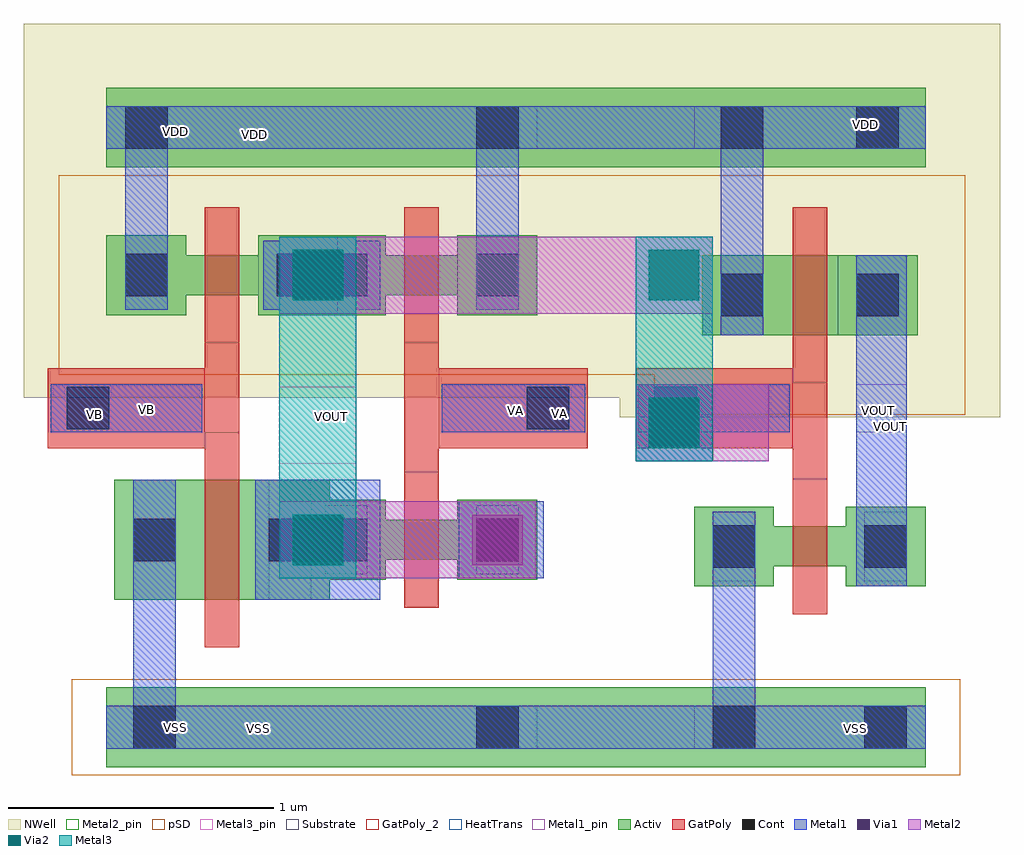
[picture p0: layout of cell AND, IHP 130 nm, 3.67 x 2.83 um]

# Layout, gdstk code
import gdstk
lib = gdstk.Library(unit=1e-6, precision=5e-09)
def R(c, l, rs):  # rectangles x0, y0, x1, y1
    for r in rs: c.add(gdstk.rectangle(r[:2], r[2:], *l))
Activ = (1, 0)
GatPoly = (5, 0)
GatPoly_2 = (5, 2)
Cont = (6, 0)
Metal1 = (8, 0)
Metal1_pin = (8, 2)
Metal2 = (10, 0)
Metal2_pin = (10, 2)
pSD = (14, 0)
Via1 = (19, 0)
Via2 = (29, 0)
Metal3 = (30, 0)
Metal3_pin = (30, 2)
NWell = (31, 0)
Substrate = (40, 0)
HeatTrans = (51, 0)

nmos_2 = lib.new_cell('nmos$2')
R(nmos_2, Activ, [(0,0.01,0.3,0.31), (0.57,0.01,0.87,0.31), (0,0.085,0.87,0.235)])
R(nmos_2, GatPoly, [(0.37,-0.095,0.5,0.415)])
R(nmos_2, GatPoly_2, [(0.37,-0.095,0.5,0.415)])
R(nmos_2, Cont, [(0.07,0.08,0.23,0.24), (0.64,0.08,0.8,0.24)])
R(nmos_2, Metal1, [(0.07,0.03,0.23,0.29), (0.64,0.03,0.8,0.29)])
R(nmos_2, Metal1_pin, [(0.07,0.03,0.23,0.29), (0.64,0.03,0.8,0.29)])
R(nmos_2, HeatTrans, [(0.37,-0.095,0.5,0.415)])
nmos_2.add(gdstk.Label('nmos', (0.435,0.16), layer=63, texttype=0))
nmos_2.add(gdstk.Label('nmos', (0.435,0.16), layer=51, texttype=0))

pmos = lib.new_cell('pmos')
R(pmos, Activ, [(0,0.01,0.3,0.31), (0.57,0.01,0.87,0.31), (0,0.085,0.87,0.235)])
R(pmos, GatPoly, [(0.37,-0.095,0.5,0.415), (0.37,-0.095,0.5,0.415)])
R(pmos, Cont, [(0.07,0.08,0.23,0.24), (0.64,0.08,0.8,0.24)])
R(pmos, Metal1, [(0.07,0.03,0.23,0.29), (0.07,0.03,0.23,0.29), (0.64,0.03,0.8,0.29), (0.64,0.03,0.8,0.29)])
R(pmos, pSD, [(-0.18,-0.215,1.05,0.535)])
R(pmos, NWell, [(-0.31,-0.3,1.18,0.61)])
R(pmos, Substrate, [(0.57,0.01,0.87,0.31)])
R(pmos, HeatTrans, [(0.37,-0.095,0.5,0.415)])
pmos.add(gdstk.Label('pmos', (0.435,0.16), layer=63, texttype=0))
pmos.add(gdstk.Label('pmos', (0.435,0.16), layer=51, texttype=0))

via1_constraint_1 = lib.new_cell('Via1_constraint$1')
R(via1_constraint_1, Metal1, [(-0.005,0.015,0.285,0.305)])
R(via1_constraint_1, Metal2, [(-0.005,0.015,0.285,0.305)])
R(via1_constraint_1, Via1, [(0.045,0.065,0.235,0.255)])

nmos_1 = lib.new_cell('nmos$1')
R(nmos_1, Activ, [(0,0.01,0.3,0.31), (0,0.01,0.81,0.46), (0.51,0.01,0.81,0.31)])
R(nmos_1, GatPoly, [(0.34,-0.17,0.47,0.64)])
R(nmos_1, GatPoly_2, [(0.34,-0.17,0.47,0.64)])
R(nmos_1, Cont, [(0.07,0.155,0.23,0.315), (0.58,0.155,0.74,0.315)])
R(nmos_1, Metal1, [(0.07,0.01,0.23,0.46), (0.58,0.01,0.74,0.46)])
R(nmos_1, Metal1_pin, [(0.07,0.01,0.23,0.46), (0.58,0.01,0.74,0.46)])
R(nmos_1, HeatTrans, [(0.34,-0.17,0.47,0.64)])
nmos_1.add(gdstk.Label('nmos', (0.405,0.235), layer=63, texttype=0))
nmos_1.add(gdstk.Label('nmos', (0.405,0.235), layer=51, texttype=0))

via2_constraint_1 = lib.new_cell('Via2_constraint$1')
R(via2_constraint_1, Metal2, [(0,0.01,0.29,0.3)])
R(via2_constraint_1, Via2, [(0.05,0.06,0.24,0.25)])
R(via2_constraint_1, Metal3, [(0,0.01,0.29,0.3)])

nand = lib.new_cell('NAND')
R(nand, Activ, [(0.31,0.04,1.93,0.34), (0.31,2.295,1.93,2.595)])
R(nand, GatPoly, [(0.09,1.24,0.68,1.54), (1.56,1.24,2.12,1.54)])
R(nand, GatPoly_2, [(0.09,1.24,0.68,1.54), (1.56,1.24,2.12,1.54)])
R(nand, Cont, [(0.41,0.11,0.57,0.27), (1.7,0.11,1.86,0.27), (0.92,0.815,1.29,0.975), (0.16,1.31,0.32,1.47), (1.89,1.31,2.05,1.47), (0.95,1.81,1.29,1.97), (0.38,2.365,0.54,2.525), (1.7,2.365,1.86,2.525)])
R(nand, Metal1, [(0.31,0.11,1.93,0.27), (0.87,0.67,1.34,1.12), (1.925,0.75,1.955,1.04), (0.1,1.3,0.67,1.48), (1.57,1.3,2.11,1.48), (0.9,1.76,1.34,2.02), (0.31,2.365,1.93,2.525)])
R(nand, Metal1_pin, [(0.31,0.11,1.93,0.27), (0.1,1.3,0.67,1.48), (1.57,1.3,2.11,1.48), (0.31,2.365,1.93,2.525)])
R(nand, pSD, [(0.18,0.01,2.06,0.37)])
R(nand, Metal3_pin, [(0.96,1.18,1.25,1.47)])
R(nand, NWell, [(0,2.34,2.24,2.835)])
nand.add(gdstk.FlexPath([(0.49,0.67),(0.49,0.27)], 0.16, ends="flush", simple_path=True, layer=8, datatype=0))  # Metal1
nand.add(gdstk.FlexPath([(0.46,2.02),(0.46,2.365)], 0.16, ends="flush", simple_path=True, layer=8, datatype=0))  # Metal1
nand.add(gdstk.FlexPath([(1.78,2.02),(1.78,2.365)], 0.16, ends="flush", simple_path=True, layer=8, datatype=0))  # Metal1
nand.add(gdstk.FlexPath([(1.495,1.635),(1.495,1.15)], 0.13, ends="flush", simple_path=True, layer=5, datatype=0))  # GatPoly
nand.add(gdstk.FlexPath([(0.745,1.635),(0.745,1.3)], 0.13, ends="flush", simple_path=True, layer=5, datatype=0))  # GatPoly
nand.add(gdstk.FlexPath([(1.635,0.895),(1.25,0.895)], 0.29, ends="flush", simple_path=True, layer=10, datatype=0))  # Metal2
nand.add(gdstk.FlexPath([(1.105,1.04),(1.105,1.745)], 0.29, ends="flush", simple_path=True, layer=30, datatype=0))  # Metal3
nand.add(gdstk.Reference(nmos_2, (1.06,0.735)))
nand.add(gdstk.Reference(pmos, (0.31,1.73)))
nand.add(gdstk.Reference(pmos, (1.06,1.73)))
nand.add(gdstk.Reference(via1_constraint_1, (0.965,1.73)))
nand.add(gdstk.Reference(via1_constraint_1, (1.64,0.735)))
nand.add(gdstk.Reference(nmos_1, (0.34,0.66)))
nand.add(gdstk.Reference(via2_constraint_1, (0.96,0.74)))
nand.add(gdstk.Reference(via2_constraint_1, (0.96,1.735)))
nand.add(gdstk.Label('VB', (0.265,1.37), layer=8, texttype=25))
nand.add(gdstk.Label('VA', (1.95,1.365), layer=8, texttype=25))
nand.add(gdstk.Label('VSS', (0.4,0.185), layer=8, texttype=25))
nand.add(gdstk.Label('VDD', (0.4,2.44), layer=8, texttype=25))

nmos = lib.new_cell('nmos')
R(nmos, Activ, [(0,-0.025,0.3,0.275), (0.57,-0.025,0.87,0.275), (0,0.05,0.87,0.2)])
R(nmos, GatPoly, [(0.37,-0.13,0.5,0.38)])
R(nmos, GatPoly_2, [(0.37,-0.13,0.5,0.38)])
R(nmos, Cont, [(0.07,0.045,0.23,0.205), (0.64,0.045,0.8,0.205)])
R(nmos, Metal1, [(0.07,-0.005,0.23,0.255), (0.64,-0.005,0.8,0.255)])
R(nmos, Metal1_pin, [(0.07,-0.005,0.23,0.255), (0.64,-0.005,0.8,0.255)])
R(nmos, HeatTrans, [(0.37,-0.13,0.5,0.38)])
nmos.add(gdstk.Label('nmos', (0.435,0.125), layer=63, texttype=0))
nmos.add(gdstk.Label('nmos', (0.435,0.125), layer=51, texttype=0))

pmos_1 = lib.new_cell('pmos$1')
R(pmos_1, Activ, [(0,0,0.3,0.3), (0,0,0.81,0.3), (0.51,0,0.81,0.3)])
R(pmos_1, GatPoly, [(0.34,-0.18,0.47,0.48), (0.34,-0.18,0.47,0.48)])
R(pmos_1, Cont, [(0.07,0.07,0.23,0.23), (0.58,0.07,0.74,0.23)])
R(pmos_1, Metal1, [(0.07,0,0.23,0.3), (0.07,0,0.23,0.3), (0.58,0,0.74,0.3), (0.58,0,0.74,0.3)])
R(pmos_1, pSD, [(-0.18,-0.3,0.99,0.6)])
R(pmos_1, NWell, [(-0.31,-0.31,1.12,0.61)])
R(pmos_1, Substrate, [(0.51,0,0.81,0.3)])
R(pmos_1, HeatTrans, [(0.34,-0.18,0.47,0.48)])
pmos_1.add(gdstk.Label('pmos', (0.405,0.15), layer=63, texttype=0))
pmos_1.add(gdstk.Label('pmos', (0.405,0.15), layer=51, texttype=0))

inv_d1 = lib.new_cell('INV_D1')
R(inv_d1, Activ, [(-0.445,-1.44,0.425,-1.14), (-0.445,0.815,0.425,1.115)])
R(inv_d1, GatPoly, [(-0.665,-0.24,-0.075,0.06), (-0.075,-0.21,0.055,0.005)])
R(inv_d1, GatPoly_2, [(-0.665,-0.24,-0.075,0.06)])
R(inv_d1, Cont, [(-0.375,-1.37,-0.215,-1.21), (0.195,-1.37,0.355,-1.21), (-0.595,-0.17,-0.435,-0.01), (-0.345,0.885,-0.185,1.045), (0.165,0.885,0.325,1.045)])
R(inv_d1, Metal1, [(-0.445,-1.37,0.425,-1.21), (-0.655,-0.18,-0.085,0), (-0.445,0.885,0.425,1.045)])
R(inv_d1, Metal1_pin, [(-0.445,-1.37,0.425,-1.21), (-0.655,-0.18,-0.085,0), (0.165,-0.18,0.355,0), (-0.445,0.885,0.425,1.045)])
R(inv_d1, pSD, [(-0.575,-1.47,0.555,-1.11)])
R(inv_d1, NWell, [(-0.725,0.795,0.705,1.355)])
R(inv_d1, Substrate, [(0.095,0.185,0.395,0.485)])
inv_d1.add(gdstk.FlexPath([(-0.295,-0.48),(-0.295,-1.37)], 0.16, ends="flush", simple_path=True, layer=8, datatype=0))  # Metal1
inv_d1.add(gdstk.FlexPath([(0.26,-0.76),(0.26,0.485)], 0.19, ends="flush", simple_path=True, layer=8, datatype=0))  # Metal1
inv_d1.add(gdstk.FlexPath([(-0.265,0.485),(-0.265,1.045)], 0.16, ends="flush", simple_path=True, layer=8, datatype=0))  # Metal1
inv_d1.add(gdstk.FlexPath([(-0.01,-0.21),(-0.01,-0.355)], 0.13, ends="flush", simple_path=True, layer=5, datatype=0))  # GatPoly
inv_d1.add(gdstk.Reference(nmos, (-0.445,-0.735)))
inv_d1.add(gdstk.Reference(pmos_1, (-0.415,0.185)))
inv_d1.add(gdstk.Label('nmos', (-0.01,-0.69), layer=63, texttype=0))
inv_d1.add(gdstk.Label('VSS', (-0.075,-1.295), layer=8, texttype=25))
inv_d1.add(gdstk.Label('VDD', (-0.07,0.96), layer=8, texttype=25))

via2_constraint = lib.new_cell('Via2_constraint')
R(via2_constraint, Metal2, [(0,0,0.29,0.29)])
R(via2_constraint, Via2, [(0.05,0.05,0.24,0.24)])
R(via2_constraint, Metal3, [(0,0,0.29,0.29)])

via1_constraint = lib.new_cell('Via1_constraint')
R(via1_constraint, Metal1, [(0,0,0.29,0.29)])
R(via1_constraint, Metal2, [(0,0,0.29,0.29)])
R(via1_constraint, Via1, [(0.05,0.05,0.24,0.24)])

and_ = lib.new_cell('AND')
R(and_, Activ, [(1.93,0.03,2.52,0.33), (1.93,2.285,2.52,2.585)])
R(and_, Metal1, [(1.93,0.1,2.52,0.26), (1.93,2.355,2.52,2.515)])
R(and_, Metal2, [(2.59,1.18,2.8,1.47)])
R(and_, Metal2_pin, [(2.59,1.18,2.8,1.47)])
R(and_, pSD, [(2.06,0,2.39,0.36), (2.11,1.505,2.37,2.255)])
and_.add(gdstk.FlexPath([(2.3,1.88),(1.25,1.88)], 0.29, ends="flush", simple_path=True, layer=10, datatype=0))  # Metal2
and_.add(gdstk.FlexPath([(2.445,1.735),(2.445,1.47)], 0.29, ends="flush", simple_path=True, layer=30, datatype=0))  # Metal3
and_.add(gdstk.Reference(nand, (0,-0.01)))
and_.add(gdstk.Reference(inv_d1, (2.965,1.47)))
and_.add(gdstk.Reference(via2_constraint, (2.3,1.735)))
and_.add(gdstk.Reference(via2_constraint, (2.3,1.18)))
and_.add(gdstk.Reference(via1_constraint, (2.3,1.18)))
and_.add(gdstk.Label('VOUT', (3.215,1.37), layer=8, texttype=2))
and_.add(gdstk.Label('VA', (1.85,1.37), layer=8, texttype=2))
and_.add(gdstk.Label('VB', (0.46,1.375), layer=8, texttype=2))
and_.add(gdstk.Label('VDD', (0.865,2.41), layer=8, texttype=2))
and_.add(gdstk.Label('VSS', (0.88,0.175), layer=8, texttype=2))
and_.add(gdstk.Label('VSS', (3.125,0.175), layer=8, texttype=2))
and_.add(gdstk.Label('VDD', (3.165,2.445), layer=8, texttype=2))
and_.add(gdstk.Label('VOUT', (3.26,1.31), layer=8, texttype=25))
and_.add(gdstk.Label('VB', (0.265,1.355), layer=8, texttype=25))
and_.add(gdstk.Label('VA', (2.015,1.36), layer=8, texttype=25))
and_.add(gdstk.Label('VDD', (0.57,2.42), layer=8, texttype=25))
and_.add(gdstk.Label('VSS', (0.57,0.18), layer=8, texttype=25))
and_.add(gdstk.Label('VOUT', (1.155,1.35), layer=30, texttype=2))

lib.write_gds('AND.gds')
